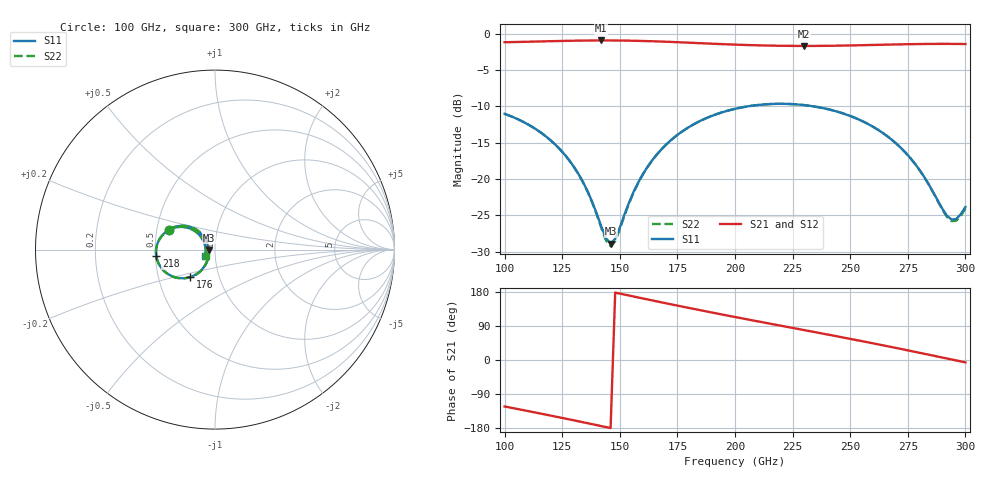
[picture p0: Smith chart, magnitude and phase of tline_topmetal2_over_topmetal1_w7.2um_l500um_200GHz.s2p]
#  GHZ S DB R 50
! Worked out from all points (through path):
!   101 points, 100 GHz to 300 GHz, reference 50 ohm
!   highest |S21| = -0.94 dB at 142 GHz (marker M1); lowest = -1.7 dB at 230 GHz (marker M2)
!   group delay of S21, straight-line fit = 3.36 ps
!   lowest |S11| = -28.9 dB at 146 GHz (marker M3), VSWR 1.07, Z = 46.5 - j0.196 ohm
!   |S11| at or under -10 dB: start of sweep to 205.6 GHz; 234.1 GHz to end of sweep
!   |S22| runs from -29.2 to -9.6 dB; largest |S21 - S12| = 9.9e-14
!   S11 on the Smith chart (normalised r, x): 100 GHz: 0.58, +0.14; 176 GHz: 0.72, -0.23; 218 GHz: 0.51, -0.04; 300 GHz: 0.89, -0.06
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100  -11.03 156.8  -1.18 -122.7  -1.18 -122.7  -11.03 156.6
120  -14.67 137.3  -1.04 -146.7  -1.04 -146.7  -14.68 137.0
128  -17.39 131.9  -0.99 -156.6  -0.99 -156.6  -17.41 131.4
134  -20.39 131.2  -0.96 -164.2  -0.96 -164.2  -20.42 130.5
142  -26.54 149.1  -0.94 -174.4  -0.94 -174.4  -26.73 147.9
144  -28.13 163.5  -0.94 -177.0  -0.94 -177.0  -28.42 162.6
146  -28.86 -176.6  -0.94 -179.6  -0.94 -179.6  -29.23 -176.8
148  -28.22 -156.5  -0.94 177.8  -0.94 177.8  -28.55 -155.7
158  -20.46 -122.9  -0.99 165.0  -0.99 165.0  -20.52 -122.0
168  -15.93 -125.8  -1.09 152.3  -1.09 152.3  -15.95 -125.2
176  -13.69 -132.3  -1.19 142.3  -1.19 142.3  -13.70 -131.8
188  -11.56 -143.8  -1.36 127.6  -1.36 127.6  -11.56 -143.4
200  -10.34 -155.8  -1.51 113.4  -1.51 113.4  -10.34 -155.5
218  -9.65 -173.9  -1.66 92.7  -1.66 92.7  -9.65 -173.6
230  -9.83 174.3  -1.69 79.0  -1.69 79.0  -9.82 174.5
234  -10.00 170.4  -1.69 74.4  -1.69 74.4  -9.99 170.5
252  -11.57 153.3  -1.61 53.4  -1.61 53.4  -11.57 153.3
268  -14.58 140.4  -1.50 34.1  -1.50 34.1  -14.57 140.3
280  -18.70 137.1  -1.43 19.2  -1.43 19.2  -18.71 136.7
292  -25.04 165.5  -1.41 4.0  -1.41 4.0  -25.20 164.9
296  -25.50 -168.9  -1.42 -1.1  -1.42 -1.1  -25.72 -168.9
300  -23.83 -147.7  -1.43 -6.2  -1.43 -6.2  -24.01 -147.0
